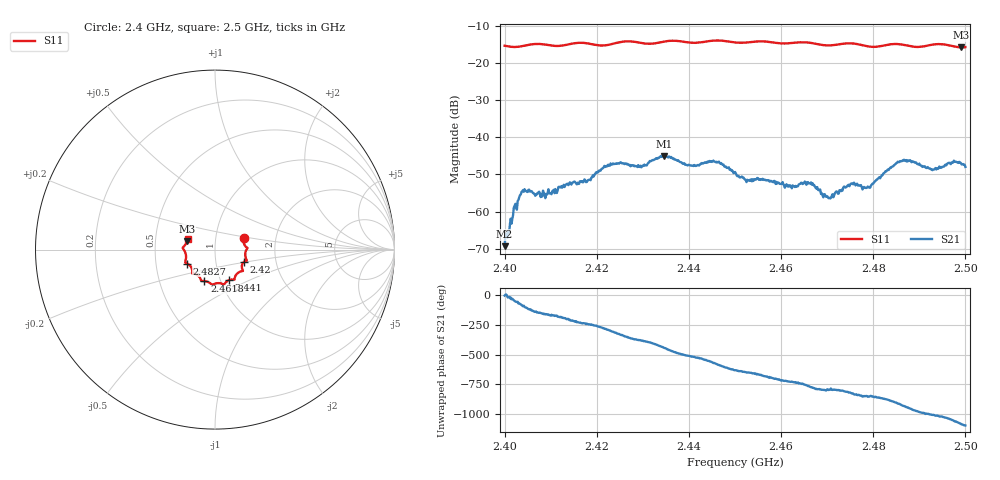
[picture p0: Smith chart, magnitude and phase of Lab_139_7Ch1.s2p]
# Hz S RI R 50
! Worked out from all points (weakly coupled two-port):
!   601 points, 2.4 GHz to 2.5 GHz, reference 50 ohm
!   highest |S21| = -45.02 dB at 2.4347 GHz (marker M1); lowest = -69.3 dB at 2.4 GHz (marker M2)
!   lowest |S11| = -15.8 dB at 2.499 GHz (marker M3), VSWR 1.39, Z = 36.4 + j3.46 ohm
!   |S11| at or under -10 dB: start of sweep to end of sweep
!   S12 and S22 are empty: the file has one direction only
!   S11 on the Smith chart (normalised r, x): 2.4 GHz: 1.36, +0.18; 2.42 GHz: 1.36, -0.20; 2.441 GHz: 1.10, -0.39; 2.4618 GHz: 0.84, -0.30; 2.4827 GHz: 0.72, -0.12; 2.5 GHz: 0.73, +0.09
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2.4e9  0.1588 0.0631  0.000343 -4.94e-06  0 0  0 0
2.4025e9  0.1615 0.0333  0.000681 -0.00091  0 0  0 0
2.404e9  0.169 0.0194  -4.73e-05 -0.00195  0 0  0 0
2.408333e9  0.1791 0.00512  -0.00171 -0.000875  0 0  0 0
2.416667e9  0.1773 -0.061  -0.00144 0.00205  0 0  0 0
2.42e9  0.1598 -0.0704  -0.000694 0.00325  0 0  0 0
2.433333e9  0.1117 -0.1507  0.00241 -0.00472  0 0  0 0
2.434667e9  0.1095 -0.1612  0.000546 -0.00558  0 0  0 0
2.441e9  0.0786 -0.1699  -0.00386 -0.00142  0 0  0 0
2.446e9  0.0498 -0.1949  -0.00353 0.00309  0 0  0 0
2.45e9  0.0286 -0.1874  0.000203 0.00341  0 0  0 0
2.461833e9  -0.0591 -0.1755  0.00215 -0.000383  0 0  0 0
2.466667e9  -0.0787 -0.1684  0.00126 -0.00193  0 0  0 0
2.4705e9  -0.0999 -0.1411  0.000333 -0.0015  0 0  0 0
2.4755e9  -0.1275 -0.1323  -0.00077 -0.00225  0 0  0 0
2.479e9  -0.1297 -0.1054  -0.00152 -0.00146  0 0  0 0
2.482667e9  -0.156 -0.0775  -0.00325 -0.0013  0 0  0 0
2.483333e9  -0.1604 -0.0754  -0.00351 -0.000929  0 0  0 0
2.486667e9  -0.1641 -0.0623  -0.00405 0.00293  0 0  0 0
2.492833e9  -0.1767 0.00378  0.00131 0.00336  0 0  0 0
2.499e9  -0.1556 0.0463  0.00449 -0.000513  0 0  0 0
2.5e9  -0.1523 0.0606  0.00374 -0.00142  0 0  0 0
